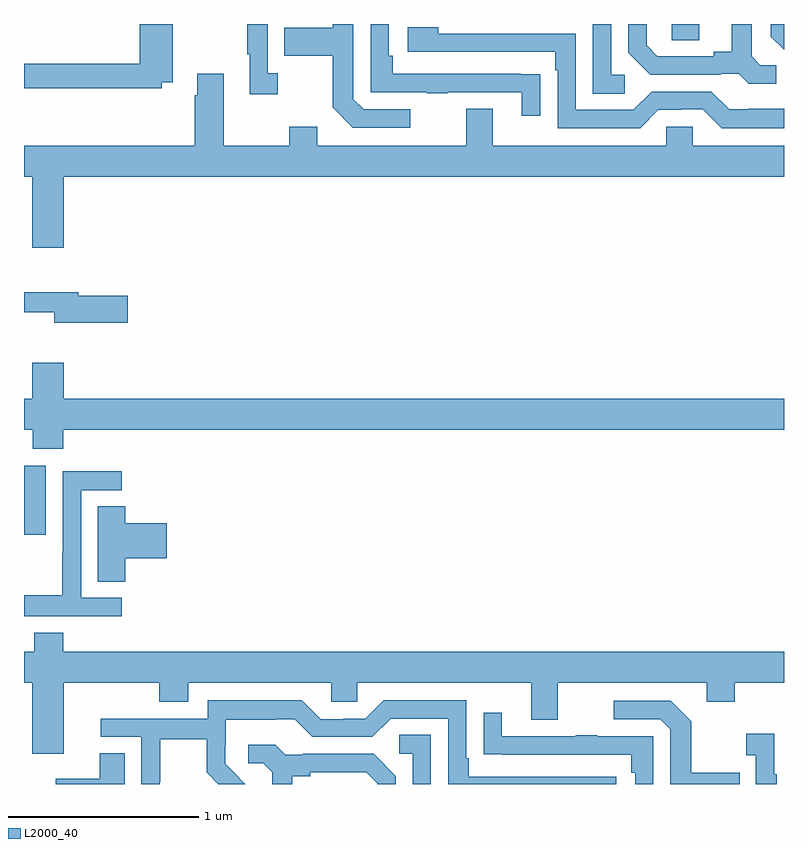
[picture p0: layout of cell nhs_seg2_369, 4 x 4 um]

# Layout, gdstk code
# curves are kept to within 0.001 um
import gdstk
lib = gdstk.Library(unit=1e-6, precision=1e-09)
def R(c, l, rs):  # rectangles x0, y0, x1, y1
    for r in rs: c.add(gdstk.rectangle(r[:2], r[2:], *l))
def P(c, l, *ps):  # polygons
    for p in ps: c.add(gdstk.Polygon(p, *l))
L2000_40 = (2000, 40)

nhs_seg2_369 = lib.new_cell('nhs_seg2_369')
R(nhs_seg2_369, L2000_40, [(129,619.113,129.115,619.474), (132.408,621.715,132.553,621.8)])
P(nhs_seg2_369, L2000_40, [(133,621.8),(132.93,621.8),(132.93,621.734),(133,621.664)],
  [(131.717,621.536),(131.615,621.536),(131.615,621.537),(130.94,621.537),(130.94,621.634),(130.92,621.634),(130.92,621.8),(130.824,621.8),(130.824,621.441),(131.119,621.441),(131.119,621.436),(131.231,621.436),(131.231,621.441),(131.621,621.441),(131.621,621.318),(131.717,621.318)],
  [(131.032,621.351),(130.788,621.351),(130.734,621.405),(130.734,621.8),(130.626,621.8),(130.626,621.781),(130.369,621.781),(130.369,621.634),(130.626,621.634),(130.626,621.361),(130.731,621.255),(131.032,621.255)],
  [(132.958,621.582),(132.876,621.582),(132.829,621.629),(132.829,621.8),(132.725,621.8),(132.725,621.653),(132.629,621.653),(132.629,621.63),(132.334,621.63),(132.277,621.687),(132.277,621.8),(132.18,621.8),(132.18,621.65),(132.296,621.534),(132.668,621.534),(132.668,621.537),(132.762,621.537),(132.814,621.485),(132.958,621.485)],
  [(130.336,621.542),(130.284,621.542),(130.284,621.8),(130.176,621.8),(130.176,621.641),(130.187,621.641),(130.187,621.429),(130.336,621.429)],
  [(132.163,621.534),(132.09,621.534),(132.09,621.8),(131.994,621.8),(131.994,621.433),(132.163,621.433)],
  [(129.726,621.494),(129.783,621.494),(129.783,621.8),(129.608,621.8),(129.608,621.59),(129,621.59),(129,621.462),(129.726,621.462)],
  [(133,621.355),(132.811,621.355),(132.811,621.351),(132.711,621.351),(132.618,621.444),(132.303,621.444),(132.207,621.348),(131.904,621.348),(131.904,621.75),(131.18,621.75),(131.18,621.784),(131.019,621.784),(131.019,621.654),(131.795,621.654),(131.795,621.557),(131.808,621.557),(131.808,621.252),(132.243,621.252),(132.339,621.348),(132.458,621.348),(132.458,621.351),(132.573,621.351),(132.673,621.251),(133,621.251)],
  [(129.208,620.996),(133,620.996),(133,621.16),(132.519,621.16),(132.519,621.258),(132.381,621.258),(132.381,621.16),(131.467,621.16),(131.467,621.355),(131.327,621.355),(131.327,621.16),(130.543,621.16),(130.543,621.259),(130.396,621.259),(130.396,621.16),(130.051,621.16),(130.051,621.538),(129.911,621.538),(129.911,621.425),(129.899,621.425),(129.899,621.16),(129,621.16),(129,620.996),(129.044,620.996),(129.044,620.622),(129.208,620.622)],
  [(129.547,620.369),(129.286,620.369),(129.286,620.388),(129,620.388),(129,620.284),(129.158,620.284),(129.158,620.227),(129.547,620.227)],
  [(129.206,619.664),(133,619.664),(133,619.828),(129.208,619.828),(129.208,620.017),(129.044,620.017),(129.044,619.828),(129,619.828),(129,619.664),(129.046,619.664),(129.046,619.565),(129.206,619.565)],
  [(129.514,618.78),(129.3,618.78),(129.3,619.347),(129.514,619.347),(129.514,619.446),(129.204,619.446),(129.204,619.016),(129.202,619.016),(129.202,618.793),(129,618.793),(129,618.684),(129.514,618.684)],
  [(129.533,618.989),(129.751,618.989),(129.751,619.172),(129.533,619.172),(129.533,619.262),(129.389,619.262),(129.389,618.865),(129.533,618.865)],
  [(129.206,618.595),(129.053,618.595),(129.053,618.496),(129,618.496),(129,618.332),(129.044,618.332),(129.044,617.958),(129.208,617.958),(129.208,618.332),(129.713,618.332),(129.713,618.233),(129.865,618.233),(129.865,618.332),(130.617,618.332),(130.617,618.234),(130.755,618.234),(130.755,618.332),(131.669,618.332),(131.669,618.138),(131.809,618.138),(131.809,618.332),(132.593,618.332),(132.593,618.233),(132.741,618.233),(132.741,618.332),(133,618.332),(133,618.496),(129.206,618.496)],
  [(129.714,617.812),(129.717,617.812),(129.717,618.036),(129.961,618.036),(129.961,617.861),(130.022,617.8),(130.164,617.8),(130.06,617.906),(130.06,618.003),(130.062,618.003),(130.062,618.137),(130.325,618.137),(130.325,618.141),(130.425,618.141),(130.518,618.048),(130.833,618.048),(130.929,618.144),(131.232,618.144),(131.232,617.8),(132.118,617.8),(132.118,617.838),(131.341,617.838),(131.341,617.935),(131.328,617.935),(131.328,618.24),(130.893,618.24),(130.797,618.144),(130.679,618.144),(130.679,618.141),(130.563,618.141),(130.463,618.241),(129.966,618.241),(129.966,618.144),(129.405,618.144),(129.405,618.048),(129.618,618.048),(129.618,617.8),(129.714,617.8)],
  [(132.767,617.859),(132.511,617.859),(132.511,618.131),(132.405,618.237),(132.105,618.237),(132.105,618.141),(132.348,618.141),(132.402,618.087),(132.402,617.8),(132.767,617.8)],
  [(132.312,618.051),(132.017,618.051),(132.017,618.056),(131.905,618.056),(131.905,618.051),(131.515,618.051),(131.515,618.175),(131.419,618.175),(131.419,617.956),(131.521,617.956),(131.521,617.955),(132.196,617.955),(132.196,617.858),(132.216,617.858),(132.216,617.8),(132.312,617.8)],
  [(132.961,617.851),(132.949,617.851),(132.949,618.064),(132.801,618.064),(132.801,617.951),(132.852,617.951),(132.852,617.8),(132.961,617.8)],
  [(131.142,618.059),(130.974,618.059),(130.974,617.958),(131.046,617.958),(131.046,617.8),(131.142,617.8)],
  [(130.411,617.84),(130.507,617.84),(130.507,617.862),(130.802,617.862),(130.859,617.805),(130.859,617.8),(130.956,617.8),(130.956,617.842),(130.84,617.958),(130.468,617.958),(130.468,617.955),(130.374,617.955),(130.322,618.007),(130.179,618.007),(130.179,617.91),(130.26,617.91),(130.307,617.863),(130.307,617.8),(130.411,617.8)],
  [(129.529,617.963),(129.398,617.963),(129.398,617.827),(129.168,617.827),(129.168,617.8),(129.529,617.8)])

lib.write_gds('nhs_seg2_369.gds')
